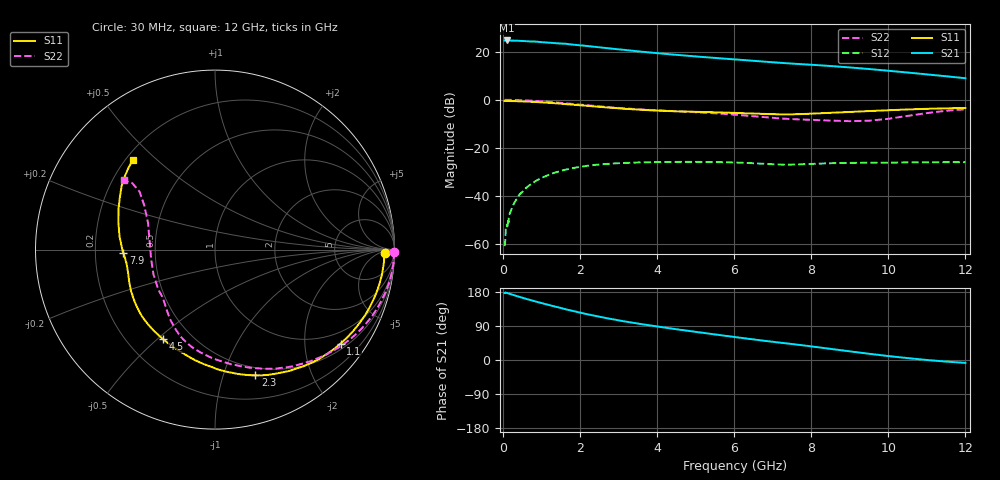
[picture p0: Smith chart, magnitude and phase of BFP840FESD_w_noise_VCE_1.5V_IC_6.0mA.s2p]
! Infineon Technologies  Discrete & RF Semiconductors
! BFP840FESD
! VCE =  1.5 V,  IC =  6.0 mA
! Common Emitter S-Parameters:  May 2012
# GHz  S  MA  R  50
!  f  S11  S21  S12  S22
! GHz  MAG  ANG  MAG  ANG  MAG  ANG  MAG  ANG
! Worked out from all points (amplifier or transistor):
!   103 points, 30 MHz to 12 GHz, reference 50 ohm
!   highest |S21| = 24.7 dB at 80 MHz (marker M1)
!   |S21| within 3 dB of that: start of sweep to 2.574 GHz
!   unconditionally stable (mu >= 1): 6.887 GHz to end of sweep
!   at 400 MHz: K = 0.03, MSG = 32.2 dB, |S12| = -39.7 dB
!   at 3.7 GHz: K = 0.39, MSG = 22.9 dB, |S12| = -26.0 dB
!   at 12 GHz: K = 1.25, MAG = 14.5 dB, |S12| = -26.0 dB
!   lowest NFmin = 0.57 dB at 450 MHz
!   S11 on the Smith chart (normalised r, x): 30 MHz: 32, -10; 1.1 GHz: 0.65, -2.88; 2.3 GHz: 0.42, -1.28; 4.5 GHz: 0.35, -0.52; 7.9 GHz: 0.32, -0.02; 12 GHz: 0.23, +0.42
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0.03  0.945 -1.0  17.09 176.9  0.0009 60.8  0.9947 -0.7
0.04  0.9445 -1.3  17.1 176.7  0.001 89.2  0.996 -0.9
0.05  0.9443 -1.8  17.18 178.0  0.0013 52.2  0.9965 -1.2
0.08  0.9433 -2.9  17.19 177.1  0.0024 95.6  0.9973 -2.1
0.35  0.9355 -12.1  16.98 168.6  0.0088 81.8  0.989 -10.1
0.6  0.9199 -20.5  16.57 161.0  0.015 76.1  0.97 -17.1
0.8  0.9027 -27.2  16.34 155.4  0.0196 71.7  0.9512 -22.7
1.1  0.8741 -36.8  15.62 147.3  0.0259 64.6  0.9166 -30.8
1.6  0.8163 -52.7  14.72 134.3  0.035 54.3  0.8485 -43.9
2.1  0.7585 -66.9  13.38 122.5  0.0414 44.9  0.7802 -56.4
2.3  0.7355 -72.2  12.87 118.2  0.0434 41.4  0.7544 -60.9
2.6  0.7039 -79.7  12.11 112.0  0.0458 36.9  0.7198 -67.3
3.1  0.654 -91.6  11.04 102.6  0.0483 30.8  0.6691 -76.8
3.6  0.6194 -102.2  10.02 94.5  0.0498 25.6  0.629 -85.3
4.1  0.5923 -112.4  9.195 86.9  0.0507 21.6  0.5989 -92.8
4.5  0.5765 -120.4  8.622 81.1  0.051 18.9  0.5776 -98.3
5.3  0.5548 -134.8  7.657 70.1  0.0509 14.2  0.5349 -108.5
6.1  0.5303 -148.5  6.855 59.4  0.0493 10.6  0.484 -118.5
7.9  0.5108 -177.9  5.422 37.2  0.0461 14.4  0.3856 -144.4
8.5  0.5368 172.2  5.052 29.3  0.0479 14.6  0.3694 -158.2
10.5  0.6306 145.5  3.696 5.0  0.0498 14.8  0.4632 148.2
12  0.6755 132.5  2.816 -7.6  0.0504 17.3  0.6354 142.7
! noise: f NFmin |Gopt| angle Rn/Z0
0.45  0.57  0.47  5  0.16
0.9  0.61  0.46  12  0.17
1.5  0.62  0.41  18  0.16
1.9  0.63  0.37  27  0.16
2.4  0.65  0.36  33  0.17
3.5  0.67  0.34  55  0.16
5.5  0.75  0.23  93  0.12
8  0.9  0.2  151  0.11
10  1.05  0.25  -148  0.11
12  1.27  0.42  -123  0.13
